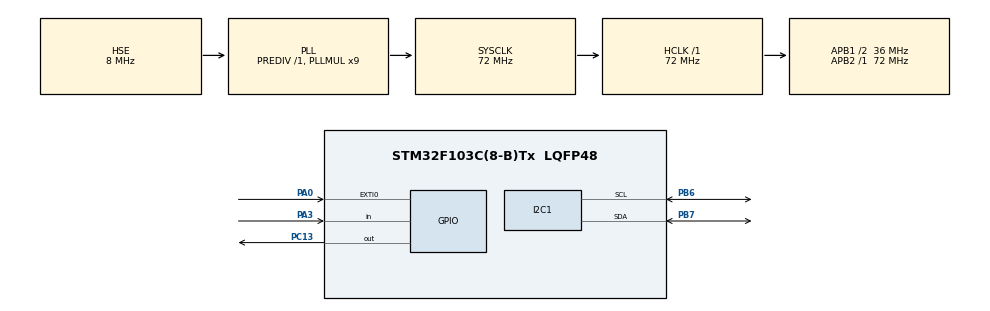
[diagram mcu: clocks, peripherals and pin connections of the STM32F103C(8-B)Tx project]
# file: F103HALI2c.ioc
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I2C1.I2C_Mode=I2C_Fast
Mcu.Family=STM32F1
Mcu.Name=STM32F103C(8-B)Tx
Mcu.Package=LQFP48
NVIC.EXTI0_IRQn=true\:1\:0\:true\:false\:true\:true\:true\:true
NVIC.PriorityGroup=NVIC_PRIORITYGROUP_4
PA0-WKUP.GPIO_ModeDefaultEXTI=GPIO_MODE_IT_FALLING
PA0-WKUP.GPIO_PuPd=GPIO_PULLUP
PA0-WKUP.Signal=GPXTI0
PA13.Mode=Serial_Wire
PA13.Signal=SYS_JTMS-SWDIO
PA14.Mode=Serial_Wire
PA14.Signal=SYS_JTCK-SWCLK
PA3.GPIO_PuPd=GPIO_PULLUP
PA3.Signal=GPIO_Input
PB6.Mode=I2C
PB6.Signal=I2C1_SCL
PB7.Mode=I2C
PB7.Signal=I2C1_SDA
PC13-TAMPER-RTC.Signal=GPIO_Output
PC14-OSC32_IN.Mode=LSE-External-Oscillator
PC14-OSC32_IN.Signal=RCC_OSC32_IN
PC15-OSC32_OUT.Mode=LSE-External-Oscillator
PC15-OSC32_OUT.Signal=RCC_OSC32_OUT
PD0-OSC_IN.Mode=HSE-External-Oscillator
PD0-OSC_IN.Signal=RCC_OSC_IN
PD1-OSC_OUT.Mode=HSE-External-Oscillator
PD1-OSC_OUT.Signal=RCC_OSC_OUT
ProjectManager.HeapSize=0x200
ProjectManager.StackSize=0x400
ProjectManager.TargetToolchain=MDK-ARM V5.32
RCC.AHBFreq_Value=72000000
RCC.APB1CLKDivider=RCC_HCLK_DIV2
RCC.APB1Freq_Value=36000000
RCC.APB1TimFreq_Value=72000000
RCC.APB2Freq_Value=72000000
RCC.APB2TimFreq_Value=72000000
RCC.HCLKFreq_Value=72000000
RCC.PLLMUL=RCC_PLL_MUL9
RCC.PLLSourceVirtual=RCC_PLLSOURCE_HSE
RCC.SYSCLKFreq_VALUE=72000000
RCC.SYSCLKSource=RCC_SYSCLKSOURCE_PLLCLK
RCC.USBFreq_Value=72000000
TIM1.Prescaler=7200-1
VP_TIM1_VS_ClockSourceINT.Mode=Internal
board=custom

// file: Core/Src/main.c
/* USER CODE BEGIN Header */
/**
  ******************************************************************************
  * @file           : main.c
  * @brief          : Main program body
  ******************************************************************************
  * @attention
  *
  * Copyright (c) 2025 STMicroelectronics.
  * All rights reserved.
  *
  * This software is licensed under terms that can be found in the LICENSE file
  * in the root directory of this software component.
  * If no LICENSE file comes with this software, it is provided AS-IS.
  *
  ******************************************************************************
  */
/* USER CODE END Header */
#include "main.h"
#include "i2c.h"
#include "tim.h"
#include "gpio.h"

/* USER CODE BEGIN Includes */
#include "oled.h"
#include "BMP.h"

/* USER CODE END Includes */

void SystemClock_Config(void);
/* USER CODE BEGIN PFP */

void Press_Down(void);
void Release(void);
void DoubleClick(void);
void Long_Press(void);
void SingleClick(void);

/* USER CODE END PFP */

/* USER CODE BEGIN 0 */

/*************************** ↓↓ 1.Software_Delay ↓↓ ***************************/
uint16_t Count1 = 0;
void Key_Scan(void)
{
    if(HAL_GPIO_ReadPin(GPIOA, GPIO_PIN_3) == 0)
    {
        HAL_Delay(15);
        while(HAL_GPIO_ReadPin(GPIOA, GPIO_PIN_3) == 0);
        Count1 ++;
        HAL_GPIO_TogglePin(GPIOC, GPIO_PIN_13);
    }
}
/*************************** ↑↑ 1.Software_Delay ↑↑ ***************************/

/*************************** ↓↓ 2.External_Interrupt ↑↑ ***************************/
//uint16_t Count1 = 0;
//void HAL_GPIO_EXTI_Callback(uint16_t GPIO_Pin)
//{
//    if(GPIO_Pin == GPIO_PIN_0)
//    {
//        if(HAL_GPIO_ReadPin(GPIOA, GPIO_PIN_0)==0)
//        {
//            Count1 ++;
//            HAL_GPIO_TogglePin(GPIOC, GPIO_PIN_13);
//        }
//    }
//}
/*************************** ↑↑ 2.External_Interrupt ↑↑ ***************************/

/*************************** ↓↓ 3.Timer_Timing ***************************/
//#define Double_Press_Time 400   // 400ms
//#define Long_Press_Time   10000  // 1s

//uint8_t Key_State, Key_Last_State = 1;
//uint8_t Double_Flag = 0;
//uint32_t Tick;

//uint16_t Count1 = 0;
//uint16_t Count2 = 0;
//uint16_t Count3 = 0;
//uint16_t Count4 = 0;

//void Key_Scan(void)
//{
//    Key_State = HAL_GPIO_ReadPin(GPIOA, GPIO_PIN_3);//获取按键状态
//    if(Key_State == 0 && Key_Last_State == 1)       //判断按下，（下降沿）
//    {
//        TIM1->CNT=0;
//        Count1++;
//        if(Double_Flag == 0)
//        {
//            Tick = HAL_GetTick();
//            Double_Flag = 1;
//        }
//        else if(Double_Flag == 1)
//        {
//            if(HAL_GetTick() - Tick <= Double_Press_Time)
//            {
//                Double_Flag = 2;
//                Count4 ++;
//            }
//        }
//    }
//    if(Key_State == 0 && Key_Last_State == 0)       //判断按键是否仍被按下
//    {
//        if(TIM1->CNT >= Long_Press_Time)
//        {
//            Count2 ++;
//        }
//    }
//
//    if(Double_Flag == 1)
//    {
//        if(HAL_GetTick() - Tick > Double_Press_Time)
//        {
//            Double_Flag = 0;
//        }
//    }
//
//    if(Key_State == 1 && Key_Last_State == 0)       //判断松开，（上升沿）
//    {
//        Count3 ++;
//        if(TIM1->CNT < Long_Press_Time)
//        {
//            if(Double_Flag == 2)
//            {
//                Double_Flag = 0;
//            }
//        }
//    }
//    Key_Last_State = Key_State;
//}

//void Press_Down(void)
//{
//    Count1 ++;
//}

//void Release(void)
//{
//    Count2 ++;
//}

//void DoubleClick(void)
//{
//    Count3 ++;
//}
//void Long_Press(void)
//{
//    Count4 ++;
//}
//void SingleClick(void)
//{
//}
/*************************** ↑↑ 3.Timer_Timing ↑↑ ***************************/

/* USER CODE END 0 */

int main(void)
{

  /* MCU Configuration--------------------------------------------------------*/

  /* Reset of all peripherals, Initializes the Flash interface and the Systick. */
  HAL_Init();

  /* Configure the system clock */
  SystemClock_Config();

  /* Initialize all configured peripherals */
  MX_GPIO_Init();
  MX_I2C1_Init();
  MX_TIM1_Init();
  /* USER CODE BEGIN 2 */
    HAL_TIM_Base_Start(&htim1);
    OLED_Init();
    OLED_Clear();

    OLED_ShowString(12,0,"Don1:",16);
    OLED_ShowString(12,2,"UP 2:",16);
    OLED_ShowString(12,4,"Dou3:",16);
    OLED_ShowString(12,6,"Lon4:",16);

    HAL_GPIO_WritePin(GPIOC, GPIO_PIN_13, GPIO_PIN_SET);

  /* USER CODE END 2 */

  /* Infinite loop */
  /* USER CODE BEGIN WHILE */
    while (1)
    {
/************ ↓↓ 1 ↓↓ ************/
        Key_Scan();
        OLED_ShowNum(55,0,Count1,3,16);

/************ ↓↓ 2 ↓↓ ************/
//        OLED_ShowNum(55,0,Count1,3,16);

/************ ↓↓ 3 ↓↓ ************/
//        Key_Scan();
//        OLED_ShowNum(55,0,Count1,3,16);
//        OLED_ShowNum(55,2,Count2,3,16);
//        OLED_ShowNum(55,4,Count3,3,16);
//        OLED_ShowNum(55,6,Count4,3,16);

    /* USER CODE END WHILE */

    }
}

void SystemClock_Config(void)
{
  RCC_OscInitTypeDef RCC_OscInitStruct = {0};
  RCC_ClkInitTypeDef RCC_ClkInitStruct = {0};

  /** Initializes the RCC Oscillators according to the specified parameters
  * in the RCC_OscInitTypeDef structure.
  */
  RCC_OscInitStruct.OscillatorType = RCC_OSCILLATORTYPE_HSE;
  RCC_OscInitStruct.HSEState = RCC_HSE_ON;
  RCC_OscInitStruct.HSEPredivValue = RCC_HSE_PREDIV_DIV1;
  RCC_OscInitStruct.HSIState = RCC_HSI_ON;
  RCC_OscInitStruct.PLL.PLLState = RCC_PLL_ON;
  RCC_OscInitStruct.PLL.PLLSource = RCC_PLLSOURCE_HSE;
  RCC_OscInitStruct.PLL.PLLMUL = RCC_PLL_MUL9;
  if (HAL_RCC_OscConfig(&RCC_OscInitStruct) != HAL_OK)
  {
    Error_Handler();
  }

  /** Initializes the CPU, AHB and APB buses clocks
  */
  RCC_ClkInitStruct.ClockType = RCC_CLOCKTYPE_HCLK|RCC_CLOCKTYPE_SYSCLK
                              |RCC_CLOCKTYPE_PCLK1|RCC_CLOCKTYPE_PCLK2;
  RCC_ClkInitStruct.SYSCLKSource = RCC_SYSCLKSOURCE_PLLCLK;
  RCC_ClkInitStruct.AHBCLKDivider = RCC_SYSCLK_DIV1;
  RCC_ClkInitStruct.APB1CLKDivider = RCC_HCLK_DIV2;
  RCC_ClkInitStruct.APB2CLKDivider = RCC_HCLK_DIV1;

  if (HAL_RCC_ClockConfig(&RCC_ClkInitStruct, FLASH_LATENCY_2) != HAL_OK)
  {
    Error_Handler();
  }
}

void Error_Handler(void)
{
    __disable_irq();
    while (1)
    {
    }
}
